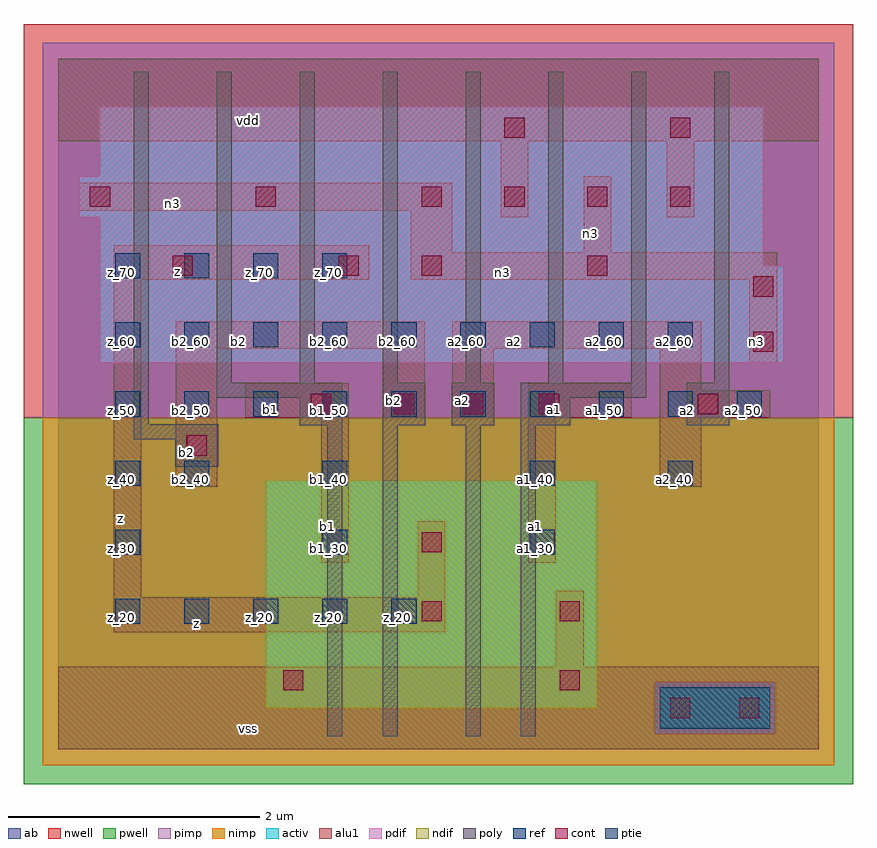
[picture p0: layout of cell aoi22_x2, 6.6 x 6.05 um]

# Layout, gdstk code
import gdstk
lib = gdstk.Library(unit=1e-6, precision=2.5e-09)
def R(c, l, rs):  # rectangles x0, y0, x1, y1
    for r in rs: c.add(gdstk.rectangle(r[:2], r[2:], *l))
def A(c, l, x, y, w, h, nx, ny, dx, dy):  # array of equal rectangles
    R(c, l, [(x+i*dx, y+j*dy, x+i*dx+w, y+j*dy+h) for i in range(nx) for j in range(ny)])
ndif = (3, 0)
pdif = (4, 0)
ptie = (6, 0)
ref = (24, 0)
cont = (25, 0)
pwell = (41, 0)
nwell = (42, 0)
activ = (43, 0)
pimp = (44, 0)
nimp = (45, 0)
poly = (46, 0)
alu1 = (49, 0)
ab = (63, 0)

aoi22_x2 = lib.new_cell('aoi22_x2')
R(aoi22_x2, ndif, [(1.65,0.33,4.29,2.145)])
R(aoi22_x2, pdif, [(0.33,3.08,5.775,3.85), (0.33,3.85,5.61,4.235), (0.165,4.235,5.61,4.565), (0.33,4.565,5.61,5.115)])
R(aoi22_x2, ptie, [(4.785,0.165,5.665,0.495)])
A(aoi22_x2, ref, 0.45, 1, 0.2, 0.2, 5, 1, 0.55, 0)
A(aoi22_x2, ref, 0.45, 1.55, 0.2, 0.2, 3, 1, 1.65, 0)
A(aoi22_x2, ref, 0.45, 2.65, 0.2, 0.2, 10, 1, 0.55, 0)
A(aoi22_x2, ref, 0.45, 3.2, 0.2, 0.2, 9, 1, 0.55, 0)
A(aoi22_x2, ref, 0.45, 3.75, 0.2, 0.2, 4, 1, 0.55, 0)
R(aoi22_x2, ref, [(0.45,2.1,0.65,2.3), (1,2.1,1.2,2.3), (2.1,2.1,2.3,2.3), (3.75,2.1,3.95,2.3), (4.85,2.1,5.05,2.3)])
A(aoi22_x2, cont, 0.25, 4.32, 0.16, 0.16, 3, 1, 1.32, 0)
A(aoi22_x2, cont, 3.55, 4.32, 0.16, 0.16, 3, 1, 0.66, 0)
R(aoi22_x2, cont, [(4.87,0.25,5.03,0.41), (5.42,0.25,5.58,0.41), (1.79,0.47,1.95,0.63), (3.99,0.47,4.15,0.63), (2.89,1.02,3.05,1.18), (3.99,1.02,4.15,1.18), (2.89,1.57,3.05,1.73), (1.02,2.34,1.18,2.5), (2.01,2.67,2.17,2.83), (2.67,2.67,2.83,2.83), (3.22,2.67,3.38,2.83), (3.825,2.67,3.985,2.83), (5.09,2.67,5.25,2.83), (5.53,3.165,5.69,3.325), (5.53,3.605,5.69,3.765), (0.91,3.77,1.07,3.93), (2.23,3.77,2.39,3.93), (2.89,3.77,3.05,3.93), (4.21,3.77,4.37,3.93), (3.55,4.87,3.71,5.03), (4.87,4.87,5.03,5.03)])
R(aoi22_x2, pwell, [(-0.275,-0.275,6.325,2.64)])
R(aoi22_x2, nwell, [(-0.275,2.64,6.325,5.775)])
R(aoi22_x2, activ, [(4.785,0.165,5.665,0.495), (1.65,0.33,4.29,2.145), (0.33,3.08,5.775,3.85), (0.33,3.85,5.61,4.235), (0.165,4.235,5.61,4.565), (0.33,4.565,5.61,5.115)])
R(aoi22_x2, pimp, [(4.745,0.125,5.705,0.535), (-0.125,2.64,6.175,5.625)])
R(aoi22_x2, nimp, [(-0.125,-0.125,6.175,0.125), (-0.125,0.125,4.745,0.535), (5.705,0.125,6.175,0.535), (-0.125,0.535,6.175,2.64)])
A(aoi22_x2, poly, 1.26, 2.92, 0.12, 2.475, 7, 1, 0.66, 0)
R(aoi22_x2, poly, [(2.14,0.105,2.26,2.58), (2.58,0.105,2.7,2.58), (3.24,0.105,3.36,2.58), (3.68,0.105,3.8,2.58), (0.93,2.25,1.27,2.47), (0.6,2.47,1.27,2.59), (1.92,2.58,2.26,2.8), (2.58,2.58,2.92,2.92), (3.13,2.58,3.47,2.92), (3.68,2.58,4.075,2.8), (5,2.58,5.34,2.92), (0.6,2.59,0.72,5.395), (1.26,2.8,2.26,2.92), (3.68,2.8,4.68,2.92)])
R(aoi22_x2, alu1, [(0,0,6.05,0.66), (3.96,0.66,4.18,1.265), (0.44,0.935,3.08,1.21), (0.44,1.21,0.66,3.74), (2.86,1.21,3.08,1.815), (2.09,1.485,2.31,2.64), (3.74,1.485,3.96,2.64), (0.935,2.09,1.265,3.19), (4.785,2.09,5.115,2.64), (1.485,2.64,2.31,2.915), (2.585,2.64,2.915,3.19), (3.135,2.64,3.465,3.19), (3.74,2.64,4.565,2.915), (4.785,2.64,5.665,2.86), (4.785,2.86,5.115,3.19), (5.5,3.08,5.72,3.74), (0.935,3.19,2.915,3.41), (3.135,3.19,5.115,3.41), (0.44,3.74,2.475,4.015), (2.805,3.74,5.72,3.96), (2.805,3.96,3.135,4.29), (4.18,3.96,4.4,4.565), (3.52,4.235,3.74,4.84), (4.84,4.235,5.06,4.84), (0.165,4.29,3.135,4.51), (0,4.84,6.05,5.5)])
R(aoi22_x2, ab, [(0,0,6.05,5.5)])
aoi22_x2.add(gdstk.Label('vss', (1.5125,0.165), layer=49, texttype=0))
aoi22_x2.add(gdstk.Label('z', (1.1,1.0025), layer=49, texttype=0))
aoi22_x2.add(gdstk.Label('a1', (3.795,1.7725), layer=49, texttype=0))
aoi22_x2.add(gdstk.Label('b1', (2.145,1.7725), layer=49, texttype=0))
aoi22_x2.add(gdstk.Label('a2', (5.005,2.695), layer=49, texttype=0))
aoi22_x2.add(gdstk.Label('n3', (5.555,3.245), layer=49, texttype=0))
aoi22_x2.add(gdstk.Label('a1', (3.945,2.7075), layer=49, texttype=0))
aoi22_x2.add(gdstk.Label('a2', (3.2175,2.7775), layer=49, texttype=0))
aoi22_x2.add(gdstk.Label('a2', (3.63,3.245), layer=49, texttype=0))
aoi22_x2.add(gdstk.Label('b2', (2.6675,2.7775), layer=49, texttype=0))
aoi22_x2.add(gdstk.Label('b1', (1.69,2.7075), layer=49, texttype=0))
aoi22_x2.add(gdstk.Label('b2', (1.0175,2.365), layer=49, texttype=0))
aoi22_x2.add(gdstk.Label('b2', (1.43,3.245), layer=49, texttype=0))
aoi22_x2.add(gdstk.Label('z', (0.495,1.8425), layer=49, texttype=0))
aoi22_x2.add(gdstk.Label('n3', (3.5325,3.795), layer=49, texttype=0))
aoi22_x2.add(gdstk.Label('n3', (4.235,4.11), layer=49, texttype=0))
aoi22_x2.add(gdstk.Label('z', (0.9475,3.8075), layer=49, texttype=0))
aoi22_x2.add(gdstk.Label('n3', (0.9075,4.345), layer=49, texttype=0))
aoi22_x2.add(gdstk.Label('vdd', (1.5125,5.005), layer=49, texttype=0))
aoi22_x2.add(gdstk.Label('a2_60', (3.25,3.25), layer=24, texttype=0))
aoi22_x2.add(gdstk.Label('a1_50', (4.35,2.7), layer=24, texttype=0))
aoi22_x2.add(gdstk.Label('a1_30', (3.8,1.6), layer=24, texttype=0))
aoi22_x2.add(gdstk.Label('a1_40', (3.8,2.15), layer=24, texttype=0))
aoi22_x2.add(gdstk.Label('b1_50', (1.6,2.7), layer=24, texttype=0))
aoi22_x2.add(gdstk.Label('b1_30', (2.15,1.6), layer=24, texttype=0))
aoi22_x2.add(gdstk.Label('b1_40', (2.15,2.15), layer=24, texttype=0))
aoi22_x2.add(gdstk.Label('z_20', (2.7,1.05), layer=24, texttype=0))
aoi22_x2.add(gdstk.Label('z_20', (2.15,1.05), layer=24, texttype=0))
aoi22_x2.add(gdstk.Label('z_70', (2.15,3.8), layer=24, texttype=0))
aoi22_x2.add(gdstk.Label('b2_40', (1.05,2.15), layer=24, texttype=0))
aoi22_x2.add(gdstk.Label('b2_60', (1.6,3.25), layer=24, texttype=0))
aoi22_x2.add(gdstk.Label('b2_50', (2.7,2.7), layer=24, texttype=0))
aoi22_x2.add(gdstk.Label('b2_50', (1.05,2.7), layer=24, texttype=0))
aoi22_x2.add(gdstk.Label('a2_60', (4.9,3.25), layer=24, texttype=0))
aoi22_x2.add(gdstk.Label('a2_60', (4.35,3.25), layer=24, texttype=0))
aoi22_x2.add(gdstk.Label('a2_60', (3.8,3.25), layer=24, texttype=0))
aoi22_x2.add(gdstk.Label('a2_50', (5.45,2.7), layer=24, texttype=0))
aoi22_x2.add(gdstk.Label('a2_50', (3.25,2.7), layer=24, texttype=0))
aoi22_x2.add(gdstk.Label('z_40', (0.5,2.15), layer=24, texttype=0))
aoi22_x2.add(gdstk.Label('z_50', (0.5,2.7), layer=24, texttype=0))
aoi22_x2.add(gdstk.Label('z_60', (0.5,3.25), layer=24, texttype=0))
aoi22_x2.add(gdstk.Label('z_20', (1.6,1.05), layer=24, texttype=0))
aoi22_x2.add(gdstk.Label('z_30', (0.5,1.6), layer=24, texttype=0))
aoi22_x2.add(gdstk.Label('z_20', (1.05,1.05), layer=24, texttype=0))
aoi22_x2.add(gdstk.Label('b2_60', (2.15,3.25), layer=24, texttype=0))
aoi22_x2.add(gdstk.Label('z_70', (1.05,3.8), layer=24, texttype=0))
aoi22_x2.add(gdstk.Label('z_70', (1.6,3.8), layer=24, texttype=0))
aoi22_x2.add(gdstk.Label('z_70', (0.5,3.8), layer=24, texttype=0))
aoi22_x2.add(gdstk.Label('b2_60', (1.05,3.25), layer=24, texttype=0))
aoi22_x2.add(gdstk.Label('b2_60', (2.7,3.25), layer=24, texttype=0))
aoi22_x2.add(gdstk.Label('b1_50', (2.15,2.7), layer=24, texttype=0))
aoi22_x2.add(gdstk.Label('a1_50', (3.8,2.7), layer=24, texttype=0))
aoi22_x2.add(gdstk.Label('a2_40', (4.9,2.15), layer=24, texttype=0))
aoi22_x2.add(gdstk.Label('a2_50', (4.9,2.7), layer=24, texttype=0))
aoi22_x2.add(gdstk.Label('z_20', (0.5,1.05), layer=24, texttype=0))

lib.write_gds('aoi22_x2.gds')
